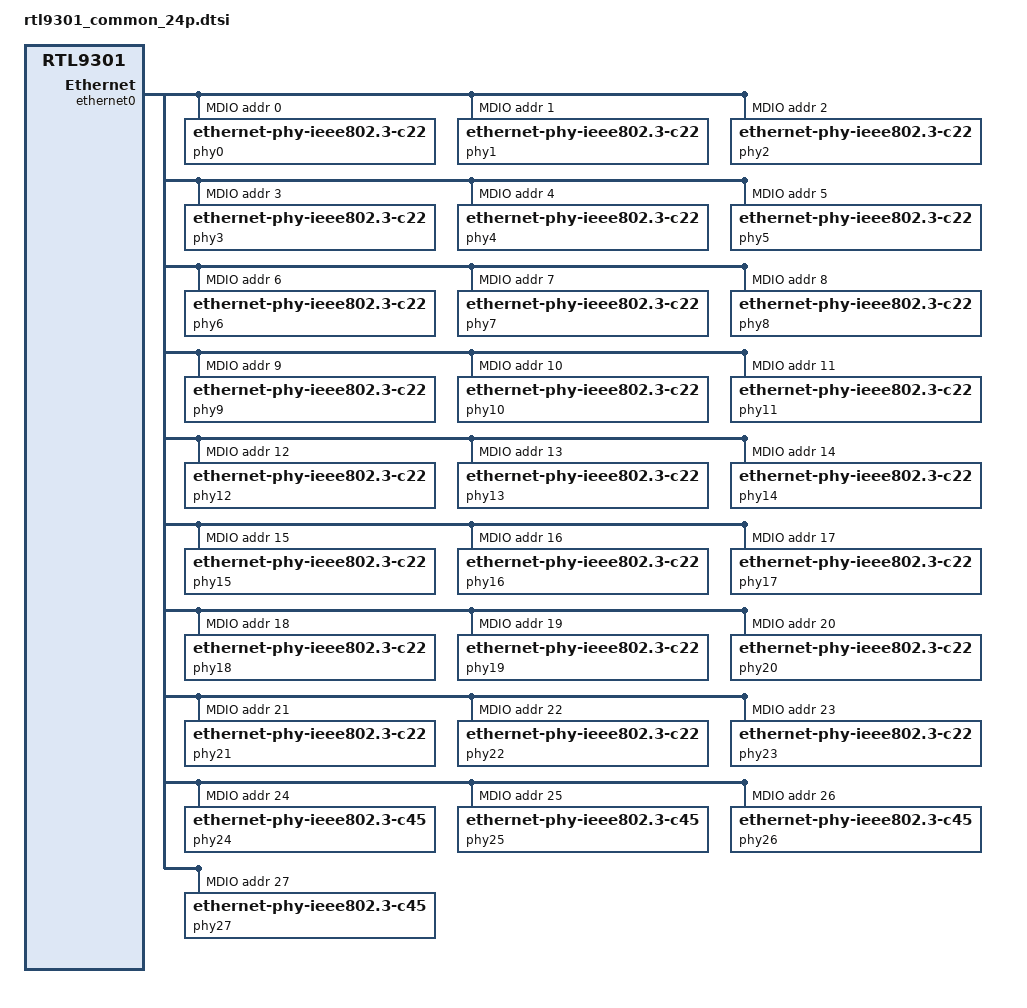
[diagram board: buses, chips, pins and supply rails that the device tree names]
// SPDX-License-Identifier: (GPL-2.0-or-later OR MIT)

&ethernet0 {
	mdio0: mdio-bus {
		compatible = "realtek,rtl9301-mdio", "realtek,rtl930x-mdio", "realtek,rtl838x-mdio";
		regmap = <&ethernet0>;
		#address-cells = <1>;
		#size-cells = <0>;

		/* External 8 port 10/100/1000Mbit RTL8218D PHY (QSGMII) first half */
		phy0: ethernet-phy@0 {
			reg = <0>;
			compatible = "ethernet-phy-ieee802.3-c22";
			rtl9300,smi-address = <0 0>;
			sds = <0>;
			/* Disabled because we do not know how to bring up again */
			/* reset-gpios = <&gpio0  GPIO_ACTIVE_LOW>; */
		};

		phy1: ethernet-phy@1 {
			reg = <1>;
			compatible = "ethernet-phy-ieee802.3-c22";
			rtl9300,smi-address = <0 1>;
		};

		phy2: ethernet-phy@2 {
			reg = <2>;
			compatible = "ethernet-phy-ieee802.3-c22";
			rtl9300,smi-address = <0 2>;
		};

		phy3: ethernet-phy@3 {
			reg = <3>;
			compatible = "ethernet-phy-ieee802.3-c22";
			rtl9300,smi-address = <0 3>;
		};

		/* External 8 port 10/100/1000Mbit RTL8218D PHY (QSGMII) second half */
		phy4: ethernet-phy@4 {
			reg = <4>;
			compatible = "ethernet-phy-ieee802.3-c22";
			rtl9300,smi-address = <0 4>;
			sds = <1>;
		};

		phy5: ethernet-phy@5 {
			reg = <5>;
			compatible = "ethernet-phy-ieee802.3-c22";
			rtl9300,smi-address = <0 5>;
		};

		phy6: ethernet-phy@6 {
			reg = <6>;
			compatible = "ethernet-phy-ieee802.3-c22";
			rtl9300,smi-address = <0 6>;
		};

		phy7: ethernet-phy@7 {
			reg = <7>;
			compatible = "ethernet-phy-ieee802.3-c22";
			rtl9300,smi-address = <0 7>;
		};

		/* External 8 port 10/100/1000Mbit RTL8218D PHY (XGMII) */
		phy8: ethernet-phy@8 {
			reg = <8>;
			compatible = "ethernet-phy-ieee802.3-c22";
			rtl9300,smi-address = <1 8>;
			sds = <2>;
			/* Disabled because we do not know how to bring up again */
			/* reset-gpios = <&gpio0  GPIO_ACTIVE_LOW>; */
		};

		phy9: ethernet-phy@9 {
			reg = <9>;
			compatible = "ethernet-phy-ieee802.3-c22";
			rtl9300,smi-address = <1 9>;
		};

		phy10: ethernet-phy@10 {
			reg = <10>;
			compatible = "ethernet-phy-ieee802.3-c22";
			rtl9300,smi-address = <1 10>;
		};

		phy11: ethernet-phy@11 {
			reg = <11>;
			compatible = "ethernet-phy-ieee802.3-c22";
			rtl9300,smi-address = <1 11>;
		};

		phy12: ethernet-phy@12 {
			reg = <12>;
			compatible = "ethernet-phy-ieee802.3-c22";
			rtl9300,smi-address = <1 12>;
		};

		phy13: ethernet-phy@13 {
			reg = <13>;
			compatible = "ethernet-phy-ieee802.3-c22";
			rtl9300,smi-address = <1 13>;
		};

		phy14: ethernet-phy@14 {
			reg = <14>;
			compatible = "ethernet-phy-ieee802.3-c22";
			rtl9300,smi-address = <1 14>;
		};

		phy15: ethernet-phy@15 {
			reg = <15>;
			compatible = "ethernet-phy-ieee802.3-c22";
			rtl9300,smi-address = <1 15>;
		};

		/* External 8 port 10/100/1000Mbit RTL8218D PHY (XGMII) */
		phy16: ethernet-phy@16 {
			reg = <16>;
			compatible = "ethernet-phy-ieee802.3-c22";
			rtl9300,smi-address = <2 16>;
			sds = <3>;
			/* Disabled because we do not know how to bring up again */
			/* reset-gpios = <&gpio0  GPIO_ACTIVE_LOW>; */
		};

		phy17: ethernet-phy@17 {
			reg = <17>;
			compatible = "ethernet-phy-ieee802.3-c22";
			rtl9300,smi-address = <2 17>;
		};

		phy18: ethernet-phy@18 {
			reg = <18>;
			compatible = "ethernet-phy-ieee802.3-c22";
			rtl9300,smi-address = <2 18>;
		};

		phy19: ethernet-phy@19 {
			reg = <19>;
			compatible = "ethernet-phy-ieee802.3-c22";
			rtl9300,smi-address = <2 19>;
		};

		phy20: ethernet-phy@20 {
			reg = <20>;
			compatible = "ethernet-phy-ieee802.3-c22";
			rtl9300,smi-address = <2 20>;
		};

		phy21: ethernet-phy@21 {
			reg = <21>;
			compatible = "ethernet-phy-ieee802.3-c22";
			rtl9300,smi-address = <2 21>;
		};

		phy22: ethernet-phy@22 {
			reg = <22>;
			compatible = "ethernet-phy-ieee802.3-c22";
			rtl9300,smi-address = <2 22>;
		};

		phy23: ethernet-phy@23 {
			reg = <23>;
			compatible = "ethernet-phy-ieee802.3-c22";
			rtl9300,smi-address = <2 23>;
		};

		/* SFP+ Ports */
		phy24: ethernet-phy@24 {
			reg = <24>;
			compatible = "ethernet-phy-ieee802.3-c45";
			phy-is-integrated;
			sds = <4>;
		};

		phy25: ethernet-phy@25 {
			reg = <25>;
			compatible = "ethernet-phy-ieee802.3-c45";
			phy-is-integrated;
			sds = <6>;
		};

		phy26: ethernet-phy@26 {
			reg = <26>;
			compatible = "ethernet-phy-ieee802.3-c45";
			phy-is-integrated;
			sds = <8>;
		};

		phy27: ethernet-phy@27 {
			reg = <27>;
			compatible = "ethernet-phy-ieee802.3-c45";
			phy-is-integrated;
			sds = <9>;
		};
	};
};
